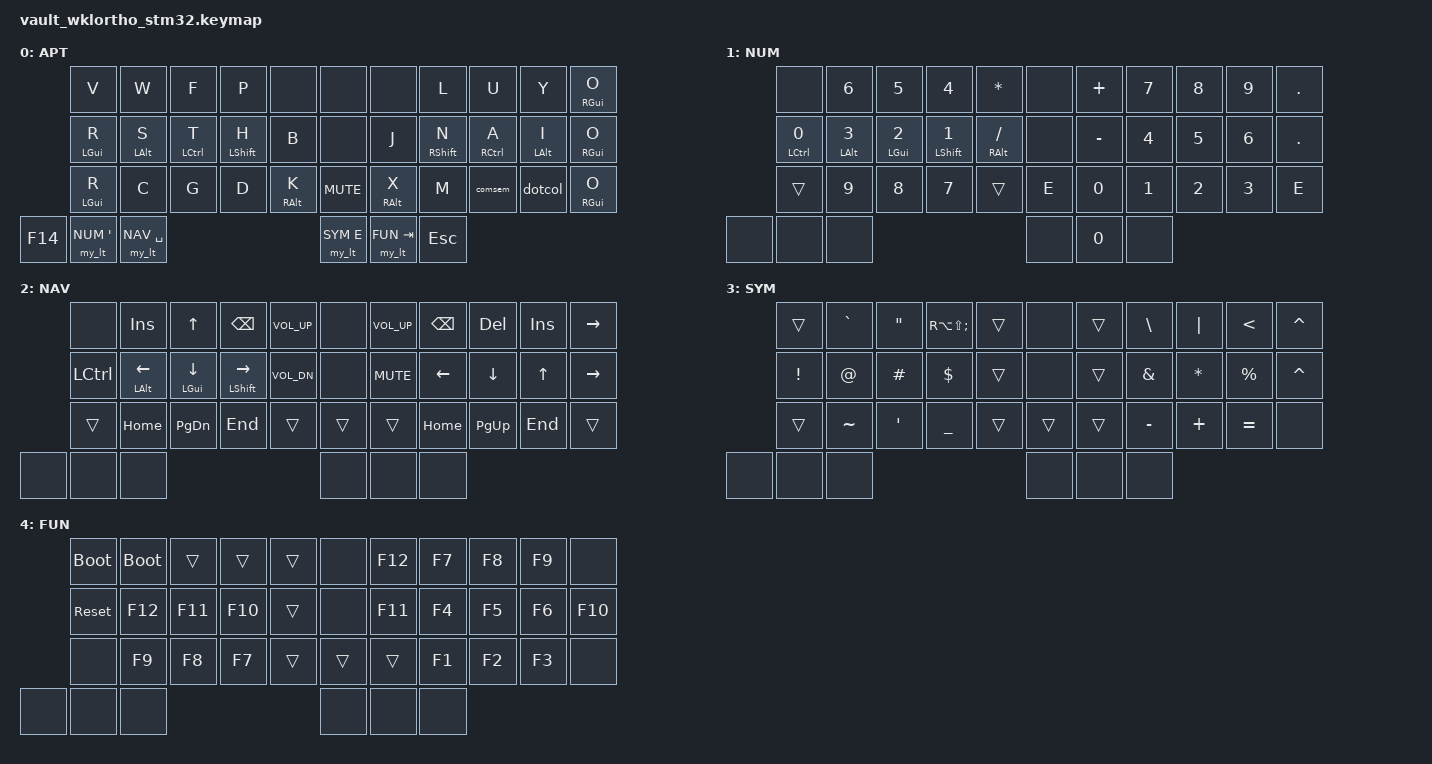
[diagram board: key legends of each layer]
#include <behaviors.dtsi>
#include <dt-bindings/zmk/keys.h>

#define APT 0
#define NUM 1
#define NAV 2
#define SYM 3
#define FUN 4

// &lt {
//     quick_tap_ms = <170>;
// };

&caps_word {
    continue-list = <UNDERSCORE MINUS BSPC LSHFT RSHFT>;
};

/ {
    macros {
        macro_sch: macro_sch {
            label = "Macro_sch";
            compatible = "zmk,behavior-macro";
            #binding-cells = <0>;
            bindings = <
		    &macro_tap &kp S
		    &macro_release &kp RSHIFT
		    &macro_tap &kp C &kp H
	    >;
        };
    };
};


#define COMBO(NAME, BINDINGS, KEYPOS) \
combo_##NAME { \
    timeout-ms = <25>; \
    bindings = <BINDINGS>; \
    key-positions = <KEYPOS>; \
};

//   00  01  02  03  04  05  06  07  08  09
//  10  11  12  13  14    15  16  17  18  19
// 20  21  22  23  24  25  26  27  28  29  30
//--------------------------------------------
//   00   w   f   p   b   j   l   u   y  09
//   r   s   t   h   k     x   n   a   i   o
// 20   c   g   d  SPC 25   e   m   ,   .   /

/ {
    combos {
        compatible = "zmk,combos";
/* usually on base layer */
        COMBO(q, &kp Q, 2 3)
        COMBO(z, &kp Z, 23 24)
        COMBO(v, &kp V, 1 2)
        //COMBO(_ae, &kp RA(A), 17 26)
        //COMBO(_oe, &kp RA(O), 19 26)
        //COMBO(_ue, &kp RA(U), 7 26)
        //COMBO(_sz, &kp RA(S), 11 24)
        //COMBO(sch, &macro_sch, 1 3)
        COMBO(slash, &kp SLASH, 30 31)
        COMBO(dash, &kp MINUS, 29 30)
        COMBO(enter, &kp ENTER, 19 29)
        COMBO(esc, &kp ESC, 24 25)
/* parentheticals */
        COMBO(lbrc, &kp LBRC, 1 12)
        COMBO(lbkt, &kp LBKT, 2 13)
        COMBO(lpar, &kp LPAR, 3 14)
        COMBO(lt, &kp LT, 4 15)
        COMBO(gt, &kp GT, 6 17)
        COMBO(rpar, &kp RPAR, 7 18)
        COMBO(rbkt, &kp RBKT, 8 19)
        COMBO(rbrc, &kp RBRC, 9 20)
/* caps */
        COMBO(caps, &caps_word, 14 18)
        COMBO(capslock, &kp CAPSLOCK, 1 9)
/* deletion */
        COMBO(bspc, &kp BSPC, 13 14)
        COMBO(del, &kp DEL, 8 9)
        COMBO(delword, &kp LC(BSPC), 18 19)
/* alternative shifting */
        /*
        COMBO(Sq, &kp LS(Q), 1 2 25)
        COMBO(Sz, &kp LS(Z), 18 19 25)
        COMBO(Sv, &kp LS(V), 0 1 25)
        COMBO(Sw, &kp LS(W), 0 25)
        COMBO(Sf, &kp LS(F), 1 25)
        COMBO(Sp, &kp LS(P), 2 25)
        COMBO(Sb, &kp LS(B), 3 25)
        COMBO(Sj, &kp LS(J), 4 26)
        COMBO(Sl, &kp LS(L), 5 26)
        COMBO(Su, &kp LS(U), 6 26)
        COMBO(Sy, &kp LS(Y), 7 26)
        COMBO(Sr, &kp LS(R), 8 25)
        COMBO(Ss, &kp LS(S), 9 25)
        COMBO(St, &kp LS(T), 10 25)
        COMBO(Sh, &kp LS(H), 11 25)
        COMBO(Sk, &kp LS(K), 12 25)
        COMBO(Sx, &kp LS(X), 13 26)
        COMBO(Sn, &kp LS(N), 14 26)
        COMBO(Sa, &kp LS(A), 15 26)
        COMBO(Si, &kp LS(I), 16 26)
        COMBO(So, &kp LS(O), 17 26)
        COMBO(Sc, &kp LS(C), 18 25)
        COMBO(Sg, &kp LS(G), 19 25)
        COMBO(Sd, &kp LS(D), 20 25)
        COMBO(Sm, &kp LS(M), 21 26)
        COMBO(Scomma, &kp SEMI, 22 26)
        COMBO(Sdot, &kp COLON, 23 26)
        COMBO(Se, &kp LS(E), 14 15 26)
        //*/
    };
};

//   00  01  02  03  04  06  07  08  09  10
//  11  12  13  14  15    17  18  19  20  21
// 22  23  24  25  26  27  28  29  30  31  32
// 33          34 35 36 37                 38


/ {

    behaviors {
        hl: homerow_mods_left {
            compatible = "zmk,behavior-hold-tap";
            label = "homerow mods left";
            #binding-cells = <2>;
            // flavor = "tap-preferred";
            flavor = "balanced";
            tapping-term-ms = <150>;
            quick-tap-ms = <100>;
            // global-quick-tap;
            bindings = <&kp>, <&kp>;
            // opposite side hand keys
            hold-trigger-key-positions = <5 6 7 8 9 10 17 18 19 20 21 27 28 29 30 31 32 36 37>;
        };
        hr: homerow_mods_right {
            compatible = "zmk,behavior-hold-tap";
            label = "homerow mods right";
            #binding-cells = <2>;
            // flavor = "tap-preferred";
            flavor = "balanced";
            tapping-term-ms = <150>;
            quick-tap-ms = <100>;
            // global-quick-tap;
  bindings = <&kp>, <&kp>;
            // opposite side hand keys
            hold-trigger-key-positions = <0 1 2 3 4 11 12 13 14 15 22 23 24 25 26 34>;
        };

        my_lt: my_layer_taps {
            compatible = "zmk,behavior-hold-tap";
            label = "my layer taps";
            #binding-cells = <2>;
            // flavor = "tap-preferred";
            flavor = "balanced";
            tapping-term-ms = <150>;
            quick-tap-ms = <100>;
            // global-quick-tap;
            bindings = <&mo &kp>, <&kp>;
            // non-thumb keys
            // hold-trigger-key-positions = <0 1 2 3 4 5 6 7 8 9 10 11 12 13 14 15 16 17 18 19 20 21 22 23>;
        };

        dotcol: dot_colon {
            compatible = "zmk,behavior-mod-morph";
            label = "DOT_COL";
            #binding-cells = <0>;
            bindings = <&kp DOT>, <&kp COLON>;
            mods = <(MOD_LSFT|MOD_RSFT)>;
        };
        comsem: comma_semicolon {
            compatible = "zmk,behavior-mod-morph";
            label = "COM_SEM";
            #binding-cells = <0>;
            bindings = <&kp COMMA>, <&kp SEMI>;
            mods = <(MOD_LSFT|MOD_RSFT)>;
        };
    };
};

//   00  01  02  03  04  06  07  08  09  10
//  11  12  13  14  15    17  18  19  20  21
// 22  23  24  25  26  27  28  29  30  31  32
// 33              34 35 36 37             38

/ {

    keymap {
        compatible = "zmk,keymap";

        aptmak {
            label = "APT";

            bindings = <
                &kp V        &kp W        &kp F        &kp P        &none         &none        &none        &kp L        &kp U        &kp Y        &hr RGUI O
                &hl LGUI R  &hl LALT S  &hl LCTRL T   &hl LSHFT H    &kp B      &none     &kp J   &hr RSHFT N  &hr RCTRL A   &hr LALT I   &hr RGUI O
                &hl LGUI R &kp C          &kp G          &kp D          &hl RALT K &kp C_MUTE     &hr RALT X   &kp M          &comsem        &dotcol        &hr RGUI O
		&kp F14					&my_lt NUM SQT  &my_lt NAV SPC &my_lt SYM E &my_lt FUN TAB					&kp ESC
            >;
        };
        numbers {
            label = "NUM";

            bindings = <
                &none          &kp N6         &kp N5         &kp N4         &kp ASTERISK       &none      &kp PLUS       &kp N7         &kp N8         &kp N9         &kp DOT
                &hl LCTRL N0   &hl LALT N3    &hl LGUI N2    &hl LSHFT N1   &hl RALT SLASH     &none      &kp MINUS      &kp N4         &kp N5         &kp N6         &kp DOT
                &trans         &kp N9         &kp N8         &kp N7         &trans         &kp E          &kp N0         &kp N1         &kp N2         &kp N3         &kp E
		&none 											&none &none &none &kp N0					&none
            >;
        };
        navigation {
            label = "NAV";

            bindings = <
                &none          &kp INSERT     &kp UP         &kp BSPC        &kp C_VOL_UP       &none     &kp C_VOL_UP   &kp BSPC       &kp DEL        &kp INSERT     &kp RIGHT
                &kp LCTRL      &hl LALT LEFT  &hl LGUI DOWN  &hl LSHFT RIGHT &kp C_VOL_DN       &none     &kp C_MUTE     &kp LEFT       &kp DOWN       &kp UP         &kp RIGHT
                &trans         &kp HOME       &kp PG_DN      &kp END         &trans       &trans          &trans         &kp HOME       &kp PG_UP      &kp END        &trans
		&none &none &none &none &none &none
            >;
        };
        symbols {
            label = "SYM";

            bindings = <
                &trans         &kp GRAVE      &kp DQT        &kp RA(LS(SEMI)) &trans         &none        &trans         &kp BACKSLASH  &kp PIPE       &kp LT         &kp CARET
                &kp EXCL       &kp AT         &kp HASH       &kp DOLLAR      &trans          &none        &trans         &kp AMPERSAND  &kp ASTERISK   &kp PERCENT    &kp CARET
                &trans         &kp TILDE      &kp SQT        &kp UNDERSCORE  &trans       &trans          &trans         &kp MINUS      &kp PLUS       &kp EQUAL      &none
		&none &none &none &none &none &none
            >;
        };
        function {
            label = "FUN";

            bindings = <
                &bootloader      &bootloader    &trans         &trans          &trans        &none         &kp F12        &kp F7         &kp F8         &kp F9         &none
                &sys_reset          &kp F12        &kp F11        &kp F10         &trans        &none         &kp F11        &kp F4         &kp F5         &kp F6         &kp F10
                &none          &kp F9         &kp F8         &kp F7          &trans        &trans        &trans         &kp F1         &kp F2         &kp F3         &none
		&none &none &none &none &none &none
            >;
        };

    };
};
